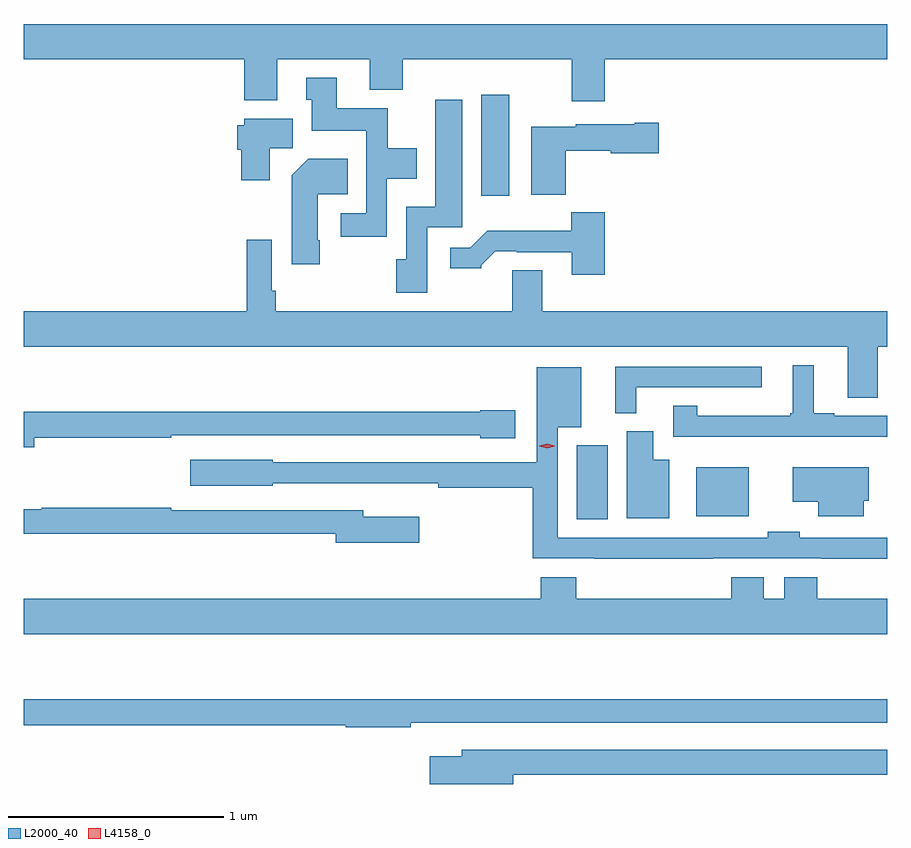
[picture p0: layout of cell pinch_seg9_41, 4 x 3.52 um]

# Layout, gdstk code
import gdstk
lib = gdstk.Library(unit=1e-6, precision=1e-09)
def R(c, l, rs):  # rectangles x0, y0, x1, y1
    for r in rs: c.add(gdstk.rectangle(r[:2], r[2:], *l))
def P(c, l, *ps):  # polygons
    for p in ps: c.add(gdstk.Polygon(p, *l))
L2000_40 = (2000, 40)
L4158_0 = (4158, 0)

pinch_seg9_41 = lib.new_cell('pinch_seg9_41')
R(pinch_seg9_41, L2000_40, [(1001.849,1240.909,1001.992,1241.251), (1002.401,1240.922,1002.646,1241.149), (1001.405,1242.408,1001.536,1242.877)])
P(pinch_seg9_41, L2000_40, [(1001.978,1243.04),(1003.286,1243.04),(1003.286,1243.204),(999.286,1243.204),(999.286,1243.04),(1000.307,1243.04),(1000.307,1242.851),(1000.459,1242.851),(1000.459,1243.04),(1000.889,1243.04),(1000.889,1242.899),(1001.042,1242.899),(1001.042,1243.04),(1001.825,1243.04),(1001.825,1242.846),(1001.978,1242.846)],
  [(1000.968,1242.488),(1001.107,1242.488),(1001.107,1242.628),(1000.971,1242.628),(1000.971,1242.814),(1000.735,1242.814),(1000.735,1242.955),(1000.595,1242.955),(1000.595,1242.852),(1000.619,1242.852),(1000.619,1242.71),(1000.872,1242.71),(1000.872,1242.327),(1000.755,1242.327),(1000.755,1242.219),(1000.968,1242.219)],
  [(1001.154,1242.261),(1001.317,1242.261),(1001.317,1242.853),(1001.192,1242.853),(1001.192,1242.358),(1001.058,1242.358),(1001.058,1242.114),(1001.011,1242.114),(1001.011,1241.958),(1001.154,1241.958)],
  [(1000.426,1242.628),(1000.531,1242.628),(1000.531,1242.766),(1000.308,1242.766),(1000.308,1242.735),(1000.274,1242.735),(1000.274,1242.621),(1000.292,1242.621),(1000.292,1242.48),(1000.426,1242.48)],
  [(1001.798,1242.617),(1002.006,1242.617),(1002.006,1242.605),(1002.229,1242.605),(1002.229,1242.747),(1002.116,1242.747),(1002.116,1242.739),(1001.844,1242.739),(1001.844,1242.727),(1001.636,1242.727),(1001.636,1242.413),(1001.798,1242.413)],
  [(1000.656,1242.202),(1000.648,1242.202),(1000.648,1242.416),(1000.787,1242.416),(1000.787,1242.58),(1000.604,1242.58),(1000.526,1242.502),(1000.526,1242.09),(1000.656,1242.09)],
  [(1001.978,1242.331),(1001.823,1242.331),(1001.823,1242.247),(1001.434,1242.247),(1001.355,1242.168),(1001.262,1242.168),(1001.262,1242.071),(1001.406,1242.071),(1001.406,1242.086),(1001.47,1242.15),(1001.569,1242.15),(1001.569,1242.147),(1001.825,1242.147),(1001.825,1242.042),(1001.978,1242.042)],
  [(1003.243,1241.708),(1003.286,1241.708),(1003.286,1241.872),(1001.689,1241.872),(1001.689,1242.062),(1001.549,1242.062),(1001.549,1241.872),(1000.454,1241.872),(1000.454,1241.968),(1000.434,1241.968),(1000.434,1242.205),(1000.318,1242.205),(1000.318,1241.872),(999.286,1241.872),(999.286,1241.708),(1003.103,1241.708),(1003.103,1241.473),(1003.243,1241.473)],
  [(1003.286,1241.388),(1003.042,1241.388),(1003.042,1241.401),(1002.946,1241.401),(1002.946,1241.623),(1002.848,1241.623),(1002.848,1241.401),(1002.837,1241.401),(1002.837,1241.389),(1002.407,1241.389),(1002.407,1241.435),(1002.294,1241.435),(1002.294,1241.291),(1003.286,1241.291)],
  [(1002.124,1241.52),(1002.706,1241.52),(1002.706,1241.616),(1002.026,1241.616),(1002.026,1241.401),(1002.124,1241.401)],
  [(1002.479,1240.728),(1002.982,1240.728),(1002.982,1240.727),(1003.286,1240.727),(1003.286,1240.824),(1002.882,1240.824),(1002.882,1240.852),(1002.732,1240.852),(1002.732,1240.824),(1001.76,1240.824),(1001.76,1241.336),(1001.869,1241.336),(1001.869,1241.614),(1001.663,1241.614),(1001.663,1241.172),(1000.44,1241.172),(1000.44,1241.185),(1000.056,1241.185),(1000.056,1241.063),(1000.44,1241.063),(1000.44,1241.076),(1000.954,1241.076),(1000.954,1241.075),(1001.206,1241.075),(1001.206,1241.056),(1001.644,1241.056),(1001.644,1240.728),(1001.929,1240.728),(1001.929,1240.727),(1002.479,1240.727)],
  [(999.334,1241.286),(999.968,1241.286),(999.968,1241.298),(1001.4,1241.298),(1001.4,1241.285),(1001.563,1241.285),(1001.563,1241.415),(1001.4,1241.415),(1001.4,1241.407),(999.286,1241.407),(999.286,1241.243),(999.334,1241.243)],
  [(1002.277,1241.185),(1002.202,1241.185),(1002.202,1241.316),(1002.08,1241.316),(1002.08,1240.913),(1002.277,1240.913)],
  [(1003.177,1240.995),(1003.201,1240.995),(1003.201,1241.149),(1002.849,1241.149),(1002.849,1240.991),(1002.968,1240.991),(1002.968,1240.922),(1003.177,1240.922)],
  [(1001.119,1240.921),(1000.858,1240.921),(1000.858,1240.95),(999.968,1240.95),(999.968,1240.963),(999.368,1240.963),(999.368,1240.955),(999.286,1240.955),(999.286,1240.842),(1000.73,1240.842),(1000.73,1240.799),(1001.119,1240.799)],
  [(1003.286,1240.54),(1002.962,1240.54),(1002.962,1240.639),(1002.809,1240.639),(1002.809,1240.54),(1002.715,1240.54),(1002.715,1240.639),(1002.563,1240.639),(1002.563,1240.54),(1001.846,1240.54),(1001.846,1240.639),(1001.681,1240.639),(1001.681,1240.54),(999.286,1240.54),(999.286,1240.376),(1003.286,1240.376)],
  [(1001.078,1239.966),(1003.286,1239.966),(1003.286,1240.075),(999.286,1240.075),(999.286,1239.954),(1000.778,1239.954),(1000.778,1239.946),(1001.078,1239.946)],
  [(1001.554,1239.724),(1003.286,1239.724),(1003.286,1239.84),(1001.315,1239.84),(1001.315,1239.811),(1001.166,1239.811),(1001.166,1239.682),(1001.554,1239.682)])
P(pinch_seg9_41, L4158_0, [(1001.711,1241.238),(1001.675,1241.248),(1001.675,1241.248),(1001.675,1241.249),(1001.711,1241.258),(1001.746,1241.249),(1001.747,1241.248),(1001.746,1241.248)])

lib.write_gds('pinch_seg9_41.gds')
